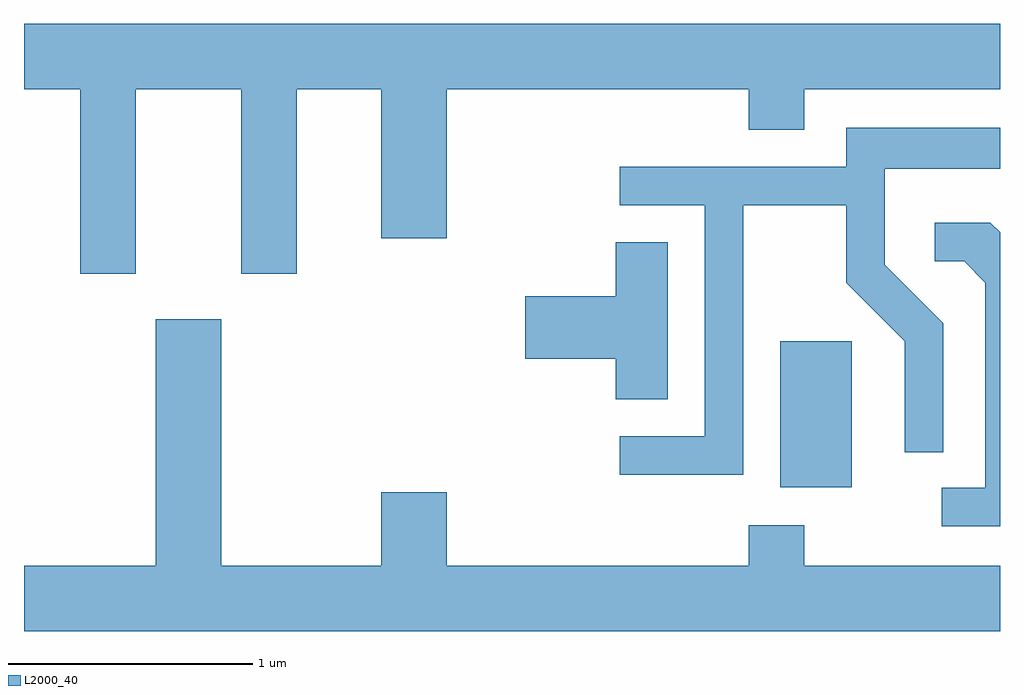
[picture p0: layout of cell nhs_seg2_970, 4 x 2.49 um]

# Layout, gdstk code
import gdstk
lib = gdstk.Library(unit=1e-6, precision=1e-09)
def R(c, l, rs):  # rectangles x0, y0, x1, y1
    for r in rs: c.add(gdstk.rectangle(r[:2], r[2:], *l))
def P(c, l, *ps):  # polygons
    for p in ps: c.add(gdstk.Polygon(p, *l))
L2000_40 = (2000, 40)

nhs_seg2_970 = lib.new_cell('nhs_seg2_970')
R(nhs_seg2_970, L2000_40, [(216.711,1015.606,217.004,1016.204)])
P(nhs_seg2_970, L2000_40, [(214.069,1017.236),(214.501,1017.236),(214.501,1016.481),(214.729,1016.481),(214.729,1017.236),(215.076,1017.236),(215.076,1016.626),(215.344,1016.626),(215.344,1017.236),(216.581,1017.236),(216.581,1017.071),(216.809,1017.071),(216.809,1017.236),(217.611,1017.236),(217.611,1017.504),(213.611,1017.504),(213.611,1017.236),(213.841,1017.236),(213.841,1016.481),(214.069,1016.481)],
  [(216.559,1016.761),(216.981,1016.761),(216.981,1016.444),(217.221,1016.204),(217.221,1015.748),(217.379,1015.748),(217.379,1016.277),(217.139,1016.517),(217.139,1016.911),(217.611,1016.911),(217.611,1017.079),(216.981,1017.079),(216.981,1016.919),(216.053,1016.919),(216.053,1016.761),(216.401,1016.761),(216.401,1015.814),(216.053,1015.814),(216.053,1015.656),(216.559,1015.656)],
  [(217.611,1016.65),(217.572,1016.689),(217.343,1016.689),(217.343,1016.531),(217.464,1016.531),(217.551,1016.444),(217.551,1015.604),(217.373,1015.604),(217.373,1015.446),(217.611,1015.446)],
  [(216.249,1016.609),(216.036,1016.609),(216.036,1016.389),(215.666,1016.389),(215.666,1016.131),(216.036,1016.131),(216.036,1015.966),(216.249,1015.966)],
  [(217.611,1015.284),(216.809,1015.284),(216.809,1015.449),(216.581,1015.449),(216.581,1015.284),(215.344,1015.284),(215.344,1015.584),(215.076,1015.584),(215.076,1015.284),(214.419,1015.284),(214.419,1016.294),(214.151,1016.294),(214.151,1015.284),(213.611,1015.284),(213.611,1015.016),(217.611,1015.016)])

lib.write_gds('nhs_seg2_970.gds')
